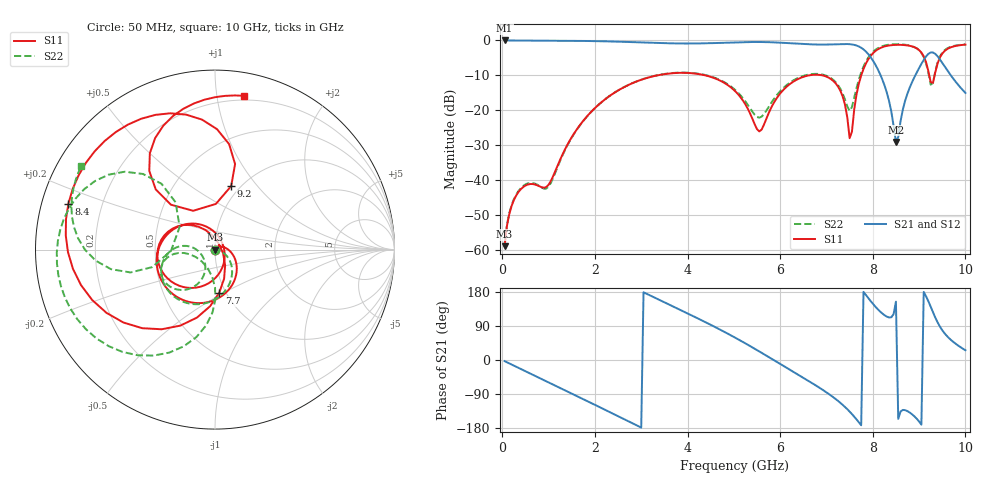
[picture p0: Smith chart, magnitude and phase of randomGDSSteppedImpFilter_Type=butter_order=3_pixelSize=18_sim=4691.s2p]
! freq	dB(S11)	phase(S11)	dB(S12)	phase(S12)
!  dB(S21)	phase(S21)	dB(S22)	phase(S22)
!S-par simulation data
#  GHz  S  DB  R 50
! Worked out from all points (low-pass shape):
!   200 points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, 50 MHz to 10 GHz, reference 50 ohm
!   highest |S21| = -0.01 dB at 50 MHz (marker M1); lowest = -29.0 dB at 8.5 GHz (marker M2)
!   |S21| within 3 dB of the highest: start of sweep to 7.838 GHz
!   lowest |S11| = -58.8 dB at 50 MHz (marker M3), VSWR 1.00, Z = 50.1 - j0.103 ohm
!   |S11| at or under -10 dB: start of sweep to 3.341 GHz; 4.391 GHz to 6.617 GHz (2.226 GHz wide, 40.4 % of centre); 6.916 GHz to 7.75 GHz (833.7 MHz wide, 11.4 % of centre) (the widest 3 of 4)
!   |S22| runs from -58.1 to -1.1 dB; largest |S21 - S12| = 0
!   S11 on the Smith chart (normalised r, x): 50 MHz: 1.00, -0.00; 7.7 GHz: 0.93, -0.48; 8.4 GHz: 0.08, +0.15; 9.2 GHz: 0.91, +0.74; 10 GHz: 0.17, +1.19
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0.05  -58.77 -63.2  -0.01 -3.0  -0.01 -3.0  -58.12 -61.0
0.3  -44.29 -110.8  -0.03 -17.7  -0.03 -17.7  -44.03 -94.6
1  -41.22 117.1  -0.07 -58.7  -0.07 -58.7  -41.77 -55.7
1.75  -22.92 1.2  -0.14 -103.3  -0.14 -103.3  -22.97 -27.4
2.6  -13.54 -60.7  -0.39 -154.4  -0.39 -154.4  -13.52 -68.3
3.4  -9.85 -113.6  -0.75 158.1  -0.75 158.1  -9.80 -109.8
4.3  -9.74 -173.0  -0.84 105.1  -0.84 105.1  -9.64 -154.7
5.05  -14.78 127.5  -0.54 57.5  -0.54 57.5  -14.40 174.1
5.55  -25.99 16.0  -0.45 22.6  -0.45 22.6  -22.07 -149.9
6.7  -9.83 -162.0  -1.14 -61.8  -1.14 -61.8  -9.58 -145.9
7.25  -13.18 141.2  -1.07 -108.0  -1.07 -108.0  -12.77 -174.0
7.5  -27.92 60.4  -1.07 -136.0  -1.07 -136.0  -20.13 -137.3
7.7  -12.32 -84.4  -1.73 -164.4  -1.73 -164.4  -11.12 -89.6
7.95  -4.48 -132.8  -4.71 156.1  -4.71 156.1  -4.04 -114.0
8.35  -1.44 168.4  -17.20 112.3  -17.20 112.3  -1.21 -157.9
8.4  -1.35 162.5  -20.30 112.7  -20.30 112.7  -1.13 -162.4
8.5  -1.26 151.3  -28.99 153.9  -28.99 153.9  -1.07 -170.9
8.9  -1.95 108.1  -10.47 -148.9  -10.47 -148.9  -1.91 155.2
9.2  -8.75 75.7  -3.84 155.1  -3.84 155.1  -9.28 129.8
9.3  -12.11 119.4  -3.44 126.1  -3.44 126.1  -12.20 -178.3
9.5  -3.77 124.0  -6.41 78.7  -6.41 78.7  -3.51 -174.7
10  -1.19 79.2  -14.99 25.7  -14.99 25.7  -1.12 148.2
